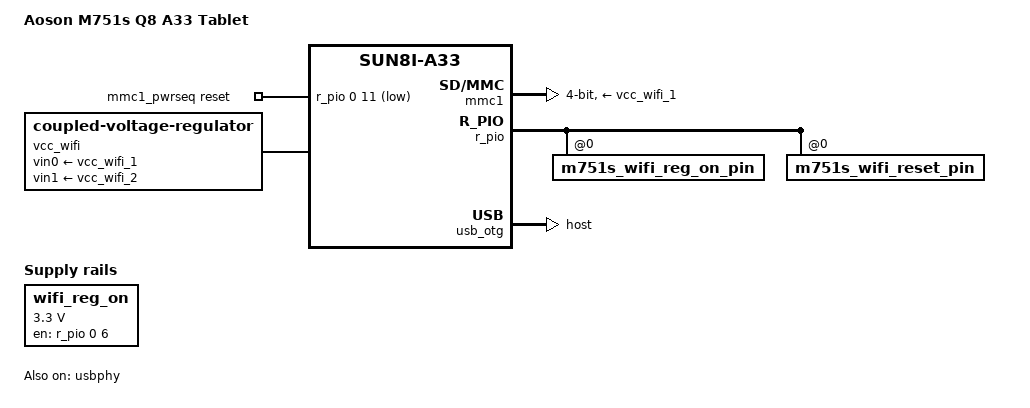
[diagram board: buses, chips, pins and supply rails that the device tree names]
/*
 * Copyright 2015 Hans de Goede <hdegoede@redhat.com>
 *
 * This file is dual-licensed: you can use it either under the terms
 * of the GPL or the X11 license, at your option. Note that this dual
 * licensing only applies to this file, and not this project as a
 * whole.
 *
 *  a) This file is free software; you can redistribute it and/or
 *     modify it under the terms of the GNU General Public License as
 *     published by the Free Software Foundation; either version 2 of the
 *     License, or (at your option) any later version.
 *
 *     This file is distributed in the hope that it will be useful,
 *     but WITHOUT ANY WARRANTY; without even the implied warranty of
 *     MERCHANTABILITY or FITNESS FOR A PARTICULAR PURPOSE.  See the
 *     GNU General Public License for more details.
 *
 * Or, alternatively,
 *
 *  b) Permission is hereby granted, free of charge, to any person
 *     obtaining a copy of this software and associated documentation
 *     files (the "Software"), to deal in the Software without
 *     restriction, including without limitation the rights to use,
 *     copy, modify, merge, publish, distribute, sublicense, and/or
 *     sell copies of the Software, and to permit persons to whom the
 *     Software is furnished to do so, subject to the following
 *     conditions:
 *
 *     The above copyright notice and this permission notice shall be
 *     included in all copies or substantial portions of the Software.
 *
 *     THE SOFTWARE IS PROVIDED "AS IS", WITHOUT WARRANTY OF ANY KIND,
 *     EXPRESS OR IMPLIED, INCLUDING BUT NOT LIMITED TO THE WARRANTIES
 *     OF MERCHANTABILITY, FITNESS FOR A PARTICULAR PURPOSE AND
 *     NONINFRINGEMENT. IN NO EVENT SHALL THE AUTHORS OR COPYRIGHT
 *     HOLDERS BE LIABLE FOR ANY CLAIM, DAMAGES OR OTHER LIABILITY,
 *     WHETHER IN AN ACTION OF CONTRACT, TORT OR OTHERWISE, ARISING
 *     FROM, OUT OF OR IN CONNECTION WITH THE SOFTWARE OR THE USE OR
 *     OTHER DEALINGS IN THE SOFTWARE.
 */

/dts-v1/;
#include "sun8i-a33.dtsi"
#include "sun8i-q8-common.dtsi"

/ {
	model = "Aoson M751s Q8 A33 Tablet";
	compatible = "allwinner,q8-a33", "allwinner,sun8i-a33";

	/*
	 * This is actually an active-low reset line for the WLAN
	 * part of the WiFi CHIP.
	 *
	 * Just like for DLDO1 and DLDO2, we cannot tie it to the DT
	 * node of the SDIO device for now, as there is no bindings
	 * for it, so we need to have this hack.
	 */
	wifi_reg_on: wifi_reg_on {
		compatible = "regulator-fixed";
		pinctrl-names = "default";
		pinctrl-0 = <&m751s_wifi_reg_on_pin>;

		regulator-name = "wifi-reg-on";
		regulator-min-microvolt = <3300000>;
		regulator-max-microvolt = <3300000>;
		regulator-always-on;
		gpio = <&r_pio 0 6 GPIO_ACTIVE_HIGH>; /* PL6 */
		enable-active-high;
	};

	mmc1_pwrseq: mmc1_pwrseq {
		compatible = "mmc-pwrseq-simple";
		pinctrl-names = "default";
		pinctrl-0 = <&m751s_wifi_reset_pin>;
		reset-gpios = <&r_pio 0 11 GPIO_ACTIVE_LOW>; /* PH9 WIFI_EN */
	};

	/*
	 * Both DLDO1 and DLDO2 are used in parallel to power up the
	 * WiFi Chip.
	 *
	 * If those are not enabled, the SDIO part will not enumerate,
	 * and since there's no way currently to pass DT infos to an
	 * SDIO device, we cannot really do better than this ugly hack
	 * for now.
	 */

	vcc_wifi: wifi_reg {
		compatible = "coupled-voltage-regulator";
		regulator-name = "vcc-wifi";
		vin0-supply = <&vcc_wifi_1>;
		vin1-supply = <&vcc_wifi_2>;
	};
};

&axp22x {
	regulators {
		vcc_wifi_1: dldo1 {
			regulator-min-microvolt = <3300000>;
			regulator-max-microvolt = <3300000>;
			regulator-name = "vcc-wifi-1";
		};

		vcc_wifi_2: dldo2 {
			regulator-min-microvolt = <3300000>;
			regulator-max-microvolt = <3300000>;
			regulator-name = "vcc-wifi-2";
			regulator-always-on;
		};
	};
};

&mmc1 {
	pinctrl-names = "default";
	pinctrl-0 = <&mmc1_pins_a>;
	vmmc-supply = <&vcc_wifi_1>;
	mmc-pwrseq = <&mmc1_pwrseq>;
	bus-width = <4>;
	//non-removable;
	broken-cd;
	status = "okay";
};

&mmc1_pins_a {
	allwinner,pull = <SUN4I_PINCTRL_PULL_UP>;
};

&r_pio {
	m751s_wifi_reg_on_pin: m751s_wifi_reg_on_pin@0 {
		allwinner,pins = "PL6";
	        allwinner,function = "gpio_out";
	        allwinner,drive = <SUN4I_PINCTRL_10_MA>;
	        allwinner,pull = <SUN4I_PINCTRL_NO_PULL>;
	};
	m751s_wifi_reset_pin: m751s_wifi_reset_pin@0 {
		allwinner,pins = "PL11";
	        allwinner,function = "gpio_out";
	        allwinner,drive = <SUN4I_PINCTRL_10_MA>;
	        allwinner,pull = <SUN4I_PINCTRL_NO_PULL>;
	};
};

/*
 * FIXME for now we only support host mode and rely on u-boot to have
 * turned on Vbus which is controlled by the axp223 pmic on the board.
 *
 * Once we have axp223 support we should switch to fully supporting otg.
 */
&usb_otg {
	dr_mode = "host";
	status = "okay";
};

&usbphy {
	status = "okay";
};
